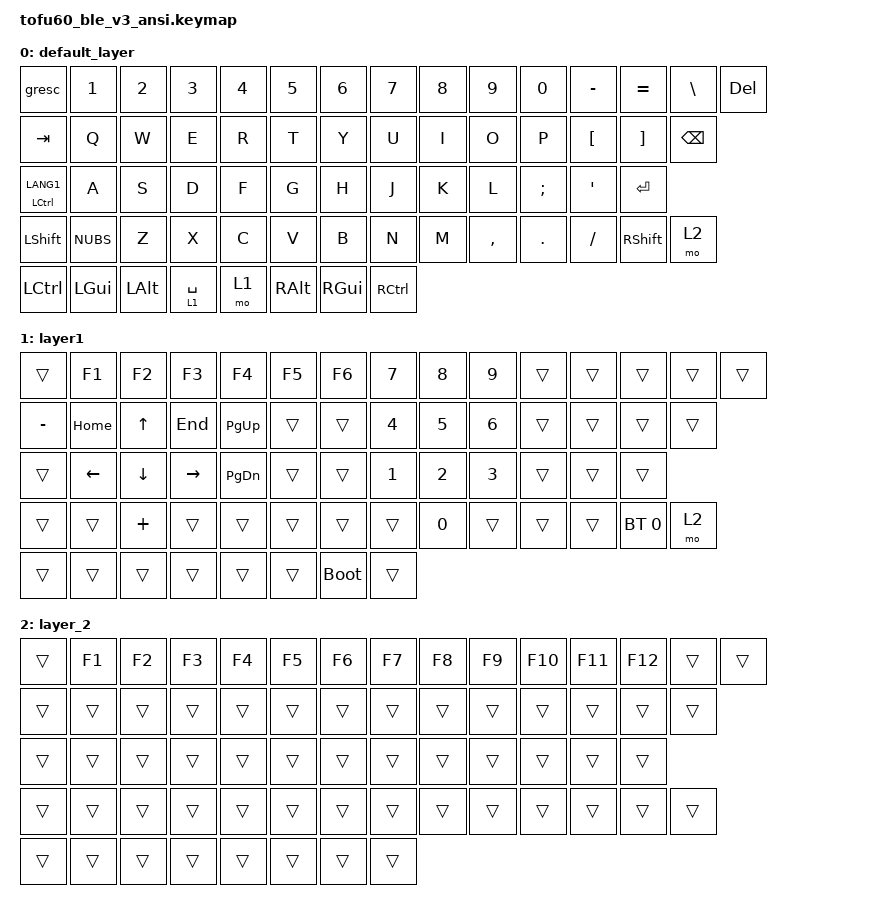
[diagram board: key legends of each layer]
#include <behaviors.dtsi>
#include <dt-bindings/zmk/bt.h>
#include <dt-bindings/zmk/keys.h>
#include "boards/shields/klink_kbd/common.keymap"

#define UF_RESET bootloader_reset 0 0
#define UF_BT1 device_bt1 0 0
#define UF_BT2 device_bt2 0 1
#define UF_BT3 device_bt3 0 2

/ {
    keymap {
        compatible = "zmk,keymap";

        default_layer {
            bindings = <
&gresc                  &kp N1    &kp N2    &kp N3       &kp N4  &kp N5    &kp N6         &kp N7     &kp N8  &kp N9     &kp N0    &kp MINUS  &kp EQUAL   &kp BSLH       &kp DELETE
&kp TAB                 &kp Q     &kp W     &kp E        &kp R   &kp T     &kp Y          &kp U      &kp I   &kp O      &kp P     &kp LBKT   &kp RBKT    &kp BACKSPACE
&mt LEFT_CONTROL LANG1  &kp A     &kp S     &kp D        &kp F   &kp G     &kp H          &kp J      &kp K   &kp L      &kp SEMI  &kp SQT    &kp RET
&kp LSHFT               &kp NUBS  &kp Z     &kp X        &kp C   &kp V     &kp B          &kp N      &kp M   &kp COMMA  &kp DOT   &kp FSLH   &kp RSHIFT  &mo 2
&kp LEFT_CONTROL        &kp LGUI  &kp LALT  &lt 1 SPACE  &mo 1   &kp RALT  &kp RIGHT_GUI  &kp RCTRL
            >;
        };

        layer1 {
            bindings = <
&trans     &kp F1    &kp F2    &kp F3     &kp F4         &kp F5  &kp F6       &kp N7  &kp NUMBER_8  &kp NUMBER_9  &trans  &trans  &trans        &trans  &trans
&kp MINUS  &kp HOME  &kp UP    &kp END    &kp PAGE_UP    &trans  &trans       &kp N4  &kp NUMBER_5  &kp N6        &trans  &trans  &trans        &trans
&trans     &kp LEFT  &kp DOWN  &kp RIGHT  &kp PAGE_DOWN  &trans  &trans       &kp N1  &kp N2        &kp N3        &trans  &trans  &trans
&trans     &trans    &kp PLUS  &trans     &trans         &trans  &trans       &trans  &kp NUMBER_0  &trans        &trans  &trans  &bt BT_SEL 0  &mo 2
&trans     &trans    &trans    &trans     &trans         &trans  &bootloader  &trans
            >;
        };

        layer_2 {
            bindings = <
&trans  &kp F1  &kp F2  &kp F3  &kp F4  &kp F5  &kp F6  &kp F7  &kp F8  &kp F9  &kp F10  &kp F11  &kp F12  &trans  &trans
&trans  &trans  &trans  &trans  &trans  &trans  &trans  &trans  &trans  &trans  &trans   &trans   &trans   &trans
&trans  &trans  &trans  &trans  &trans  &trans  &trans  &trans  &trans  &trans  &trans   &trans   &trans
&trans  &trans  &trans  &trans  &trans  &trans  &trans  &trans  &trans  &trans  &trans   &trans   &trans   &trans
&trans  &trans  &trans  &trans  &trans  &trans  &trans  &trans
            >;
        };
    };
};
